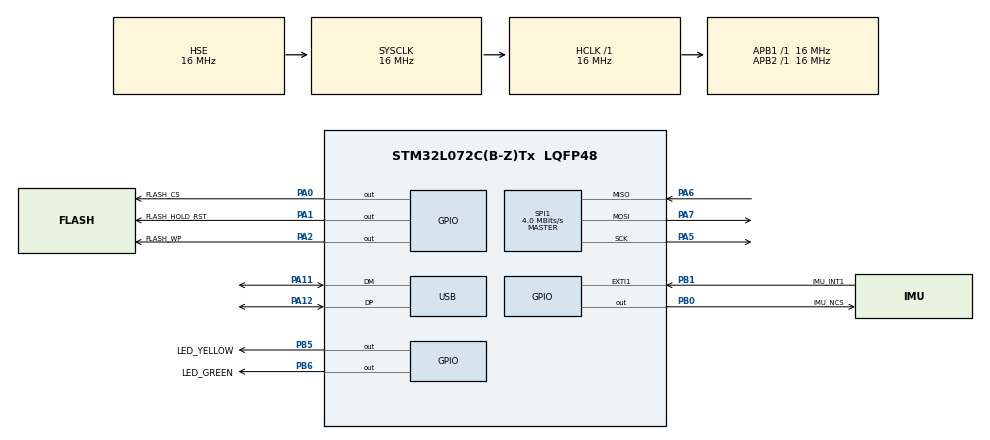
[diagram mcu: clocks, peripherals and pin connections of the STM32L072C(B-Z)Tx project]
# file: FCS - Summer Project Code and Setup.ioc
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Mcu.Family=STM32L0
Mcu.Name=STM32L072C(B-Z)Tx
Mcu.Package=LQFP48
NVIC.USB_IRQn=true\:0\:0\:false\:false\:true\:false\:true\:true
PA0.GPIO_Label=FLASH_CS
PA0.Signal=GPIO_Output
PA1.GPIO_Label=FLASH_HOLD_RST
PA1.Signal=GPIO_Output
PA11.Mode=Device
PA11.Signal=USB_DM
PA12.Mode=Device
PA12.Signal=USB_DP
PA13.Mode=Serial_Wire
PA13.Signal=SYS_SWDIO
PA14.Mode=Serial_Wire
PA14.Signal=SYS_SWCLK
PA2.GPIO_Label=FLASH_WP
PA2.Signal=GPIO_Output
PA5.Mode=Full_Duplex_Master
PA5.Signal=SPI1_SCK
PA6.Mode=Full_Duplex_Master
PA6.Signal=SPI1_MISO
PA7.Mode=Full_Duplex_Master
PA7.Signal=SPI1_MOSI
PB0.GPIO_Label=IMU_NCS
PB0.GPIO_PuPd=GPIO_NOPULL
PB0.Signal=GPIO_Output
PB1.GPIO_Label=IMU_INT1
PB1.Signal=GPXTI1
PB5.GPIO_Label=LED_YELLOW
PB5.Signal=GPIO_Output
PB6.GPIO_Label=LED_GREEN
PB6.Signal=GPIO_Output
PC14-OSC32_IN.Mode=LSE-External-Oscillator
PC14-OSC32_IN.Signal=RCC_OSC32_IN
PC15-OSC32_OUT.Mode=LSE-External-Oscillator
PC15-OSC32_OUT.Signal=RCC_OSC32_OUT
PH0-OSC_IN.Mode=HSE-External-Oscillator
PH0-OSC_IN.Signal=RCC_OSC_IN
PH1-OSC_OUT.Mode=HSE-External-Oscillator
PH1-OSC_OUT.Signal=RCC_OSC_OUT
ProjectManager.HeapSize=0x200
ProjectManager.StackSize=0x400
ProjectManager.TargetToolchain=STM32CubeIDE
RCC.ADCFreq_Value=16000000
RCC.AHBFreq_Value=16000000
RCC.APB1Freq_Value=16000000
RCC.APB1TimFreq_Value=16000000
RCC.APB2Freq_Value=16000000
RCC.APB2TimFreq_Value=16000000
RCC.HCLKFreq_Value=16000000
RCC.HSE_VALUE=16000000
RCC.HSI16_VALUE=16000000
RCC.HSI48_VALUE=48000000
RCC.HSI_VALUE=16000000
RCC.MSI_VALUE=2097000
RCC.PLLDIV=RCC_PLLDIV_3
RCC.PLLMUL=RCC_PLLMUL_6
RCC.SYSCLKFreq_VALUE=16000000
RCC.SYSCLKSource=RCC_SYSCLKSOURCE_HSE
RCC.VCOOutputFreq_Value=96000000
SPI1.BaudRatePrescaler=SPI_BAUDRATEPRESCALER_4
SPI1.CalculateBaudRate=4.0 MBits/s
SPI1.Direction=SPI_DIRECTION_2LINES
SPI1.Mode=SPI_MODE_MASTER
SPI1.VirtualType=VM_MASTER
USB_DEVICE.CLASS_NAME_FS=CDC
USB_DEVICE.VirtualMode=Cdc
USB_DEVICE.VirtualModeFS=Cdc_FS
VP_USB_DEVICE_VS_USB_DEVICE_CDC_FS.Mode=CDC_FS
board=custom

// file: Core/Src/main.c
/* USER CODE BEGIN Header */
/**
 ******************************************************************************
 * @file           : main.c
 * @brief          : Main program body
 ******************************************************************************
 * @attention
 *
 * Copyright (c) 2025 STMicroelectronics.
 * All rights reserved.
 *
 * This software is licensed under terms that can be found in the LICENSE file
 * in the root directory of this software component.
 * If no LICENSE file comes with this software, it is provided AS-IS.
 *
 ******************************************************************************
 */
/* USER CODE END Header */
#include "main.h"
#include "usb_device.h"

/* USER CODE BEGIN Includes */
#include <stdbool.h>
/* USER CODE END Includes */

SPI_HandleTypeDef hspi1;

/* USER CODE BEGIN PV */
bool imu_first_time = false;

/* USER CODE END PV */

void SystemClock_Config(void);
static void MX_GPIO_Init(void);
static void MX_SPI1_Init(void);

/* USER CODE BEGIN 0 */

/* Imu_Start_Transmission
 * Starts the transmission of the SPI line by setting NCS pin to LOW
 *
 * Takes: void
 * Returns: void
 */
void Imu_Start_Transmission(void)
{
    HAL_GPIO_WritePin(IMU_NCS_GPIO_Port, IMU_NCS_Pin, GPIO_PIN_RESET);
}

/* Imu_Stop_Transmission
 * Stops the transmission of the SPI line by setting NCS pin to HIGH
 *
 * Takes: void
 * Returns: void
 */
void Imu_Stop_Transmission(void)
{
    HAL_GPIO_WritePin(IMU_NCS_GPIO_Port, IMU_NCS_Pin, GPIO_PIN_SET);
}

/* Imu_Reg16_Read
 *
 * Will read data from address given and output 4 byte of data through pointer
 * 	but only 2 are useful (the ones that are saved)
 *
 * Takes: uint8_t address and 2 pointers
 * Returns: uint8_t status
 */
uint8_t Imu_Reg16_Read(uint8_t addr, uint8_t *low_byte, uint8_t *high_byte)
{
    /*
     * Create a transmit array that will set the transmit data to READ
     * Will have 4 bytes [(read set + addr), 0x00, 0x00, 0x00]
     *
     * Command byte: RnW = 1 (read) | Adress [6:0]
     */
    uint8_t tx_buf[4] = { ((addr & 0x7F) | 0x80), 0x00, 0x00, 0x00 };
    uint8_t rx_buf[4] = { 0 };

    Imu_Start_Transmission();

    // Send and get data while seeing if out status is ok
    uint8_t status = (HAL_SPI_TransmitReceive(&hspi1, tx_buf, rx_buf, 4,
    HAL_MAX_DELAY) == HAL_OK);

    Imu_Stop_Transmission();

    *low_byte = rx_buf[2];
    *high_byte = rx_buf[3];
    return status;
}

/* Imu_Reg16_Write
 *
 * Will take in an 8-bit addr and 2 8-bit write instruction and write it
 *
 * Takes: uint8_t addr and 2 uint8_t instructions
 * Returns: uint8_t status
 */
uint8_t Imu_Reg16_Write(uint8_t addr, uint8_t low_instruction_byte,
        uint8_t high_instruction_byte)
{
    // Store the addr, then the instruction with low byte first
    // Command byte: RnW = 0 (write) | Adress [6:0]
    uint8_t tx_buf[3] = { (addr & 0x7F), low_instruction_byte,
            high_instruction_byte };

    // Tranasmit data
    Imu_Start_Transmission();
    uint8_t status = (HAL_SPI_Transmit(&hspi1, tx_buf, sizeof(tx_buf),
            HAL_MAX_DELAY) == HAL_OK);
    Imu_Stop_Transmission();

    //uint8_t status = ( HAL_SPI_Transmit(&hspi1, tx_buf, , Timeout))
    return status;
}

/*Imu_SetUp
 *
 * Will setup the imu and everything required to get it into SPI mode
 *   will also make sure that the chip is ID properly
 *
 * Take: Void
 * Return: Void
 *
 */
void Imu_SetUp(void)
{
    // Set the data bytes
    uint8_t low_byte = 0x00;
    uint8_t high_byte = 0x00;

    // Initialize SPI
    Imu_Reg16_Read(IMU_REG_CHIP_ADDR, 0x00, 0x00);

    // Check chip_id
    Imu_Reg16_Read(IMU_REG_CHIP_ADDR, &low_byte, &high_byte);
    if (low_byte == IMU_REG_CHIP_ID)
    {
        HAL_GPIO_WritePin(LED_GREEN_GPIO_Port, LED_GREEN_Pin, GPIO_PIN_SET);
    }

    // Check if power is ok
    Imu_Reg16_Read(IMU_ERR_ADDR, &low_byte, &high_byte);
    if ((low_byte & 0x01) == 0x00) // Bitmask on low_byte to make sure only comparing LSB
    {
        HAL_GPIO_WritePin(LED_YELLOW_GPIO_Port, LED_YELLOW_Pin, GPIO_PIN_SET);
    }

    // Check if sensor status is ok
    /*
     * NOTE: Sometimes this needs a hard reset (removing power)
     *         since the register is instantly reset after 1 read
     */
    Imu_Reg16_Read(IMU_STATUS_ADDR, &low_byte, &high_byte);
    if ((low_byte & 0x01) == 0x01)
    {
        HAL_GPIO_WritePin(LED_YELLOW_GPIO_Port, LED_YELLOW_Pin, GPIO_PIN_RESET);
    }

    // Setup of Gyro
    Imu_Reg16_Write(IMU_GYRO_CONFIG_ADDR, IMU_GYRO_CONFIG_LOW,
            IMU_GYRO_CONFIG_HIGH);

//    // Setup accel to low power
//    Imu_Reg16_Write(IMU_ACCEL_CONFIG_ADDR, IMU_ACCEL_LOW_POWER_CONFIG_LOW, IMU_ACCEL_LOW_POWER_CONFIG_HIGH);
//
//    // Check sensor status
//    Imu_Reg16_Read(IMU_STATUS_ADDR, &low_byte, &high_byte);
//    while ((low_byte & 0x40) != 0x40) // Bitmask on low_byte to make sure only comparing 7th bit (MSB of the low byte)
//    {
//        HAL_GPIO_WritePin(LED_GREEN_GPIO_Port, LED_GREEN_Pin, GPIO_PIN_RESET);
//        Imu_Reg16_Read(IMU_STATUS_ADDR, &low_byte, &high_byte);
//    }
//    HAL_GPIO_WritePin(LED_GREEN_GPIO_Port, LED_GREEN_Pin, GPIO_PIN_SET);

    // Excelente! Successful init!

} /* END of Imu_Setup */

/* USER CODE END 0 */

int main(void)
{

    /* MCU Configuration--------------------------------------------------------*/

    /* Reset of all peripherals, Initializes the Flash interface and the Systick. */
    HAL_Init();

    /* Configure the system clock */
    SystemClock_Config();

    /* Initialize all configured peripherals */
    MX_GPIO_Init();
    MX_SPI1_Init();
    MX_USB_DEVICE_Init();

    /* Infinite loop */
    /* USER CODE BEGIN WHILE */

//  char txBuf[8];
//  uint8_t count = 1;
    char tx_buf[8];
    // Create rx array to store read information
    while (1)
    {

        /* START of uncommented code for while loop*/
        if (!imu_first_time)
        {
            Imu_SetUp();
            imu_first_time = true;
        }
        // Set the data bytes
        uint8_t data_low_byte = 0x00;
        uint8_t data_high_byte = 0x00;

        uint8_t read_low_byte = 0x00;
        uint8_t read__high_byte = 0x00;

        Imu_Reg16_Read(IMU_STATUS_ADDR, &read_low_byte, &read__high_byte);

        if ((read_low_byte & 0x40) == 0x40)
        {
            Imu_Reg16_Read(0x03, &data_low_byte, &data_high_byte);
            sprintf(tx_buf, "%u", data_high_byte);
            sprintf(tx_buf, "%u\r\n", data_low_byte);
            CDC_Transmit_FS((uint8_t*) tx_buf, strlen(tx_buf));
        }

        /* END of uncommented code for while loop*/

//	  HAL_GPIO_TogglePin(LED_GREEN_GPIO_Port, LED_GREEN_Pin);
//	  sprintf(txBuf, "%u\r\n", count);
//
//	  if (count >= 100)
//	  {
//		  count = 1;
//	  }
//	  count++;
//
//	  CDC_Transmit_FS((uint8_t *) txBuf, strlen(txBuf));
//
//	  HAL_Delay(500);
        /* USER CODE END WHILE */

    }
}

void SystemClock_Config(void)
{
    RCC_OscInitTypeDef RCC_OscInitStruct = { 0 };
    RCC_ClkInitTypeDef RCC_ClkInitStruct = { 0 };
    RCC_PeriphCLKInitTypeDef PeriphClkInit = { 0 };

    /** Configure the main internal regulator output voltage
     */
    __HAL_PWR_VOLTAGESCALING_CONFIG(PWR_REGULATOR_VOLTAGE_SCALE1);

    /** Initializes the RCC Oscillators according to the specified parameters
     * in the RCC_OscInitTypeDef structure.
     */
    RCC_OscInitStruct.OscillatorType = RCC_OSCILLATORTYPE_HSE;
    RCC_OscInitStruct.HSEState = RCC_HSE_ON;
    RCC_OscInitStruct.PLL.PLLState = RCC_PLL_ON;
    RCC_OscInitStruct.PLL.PLLSource = RCC_PLLSOURCE_HSE;
    RCC_OscInitStruct.PLL.PLLMUL = RCC_PLLMUL_6;
    RCC_OscInitStruct.PLL.PLLDIV = RCC_PLLDIV_3;
    if (HAL_RCC_OscConfig(&RCC_OscInitStruct) != HAL_OK)
    {
        Error_Handler();
    }

    /** Initializes the CPU, AHB and APB buses clocks
     */
    RCC_ClkInitStruct.ClockType = RCC_CLOCKTYPE_HCLK | RCC_CLOCKTYPE_SYSCLK
            | RCC_CLOCKTYPE_PCLK1 | RCC_CLOCKTYPE_PCLK2;
    RCC_ClkInitStruct.SYSCLKSource = RCC_SYSCLKSOURCE_HSE;
    RCC_ClkInitStruct.AHBCLKDivider = RCC_SYSCLK_DIV1;
    RCC_ClkInitStruct.APB1CLKDivider = RCC_HCLK_DIV1;
    RCC_ClkInitStruct.APB2CLKDivider = RCC_HCLK_DIV1;

    if (HAL_RCC_ClockConfig(&RCC_ClkInitStruct, FLASH_LATENCY_0) != HAL_OK)
    {
        Error_Handler();
    }
    PeriphClkInit.PeriphClockSelection = RCC_PERIPHCLK_USB;
    PeriphClkInit.UsbClockSelection = RCC_USBCLKSOURCE_PLL;
    if (HAL_RCCEx_PeriphCLKConfig(&PeriphClkInit) != HAL_OK)
    {
        Error_Handler();
    }
}

static void MX_SPI1_Init(void)
{

    /* SPI1 parameter configuration*/
    hspi1.Instance = SPI1;
    hspi1.Init.Mode = SPI_MODE_MASTER;
    hspi1.Init.Direction = SPI_DIRECTION_2LINES;
    hspi1.Init.DataSize = SPI_DATASIZE_8BIT;
    hspi1.Init.CLKPolarity = SPI_POLARITY_LOW;
    hspi1.Init.CLKPhase = SPI_PHASE_1EDGE;
    hspi1.Init.NSS = SPI_NSS_SOFT;
    hspi1.Init.BaudRatePrescaler = SPI_BAUDRATEPRESCALER_4;
    hspi1.Init.FirstBit = SPI_FIRSTBIT_MSB;
    hspi1.Init.TIMode = SPI_TIMODE_DISABLE;
    hspi1.Init.CRCCalculation = SPI_CRCCALCULATION_DISABLE;
    hspi1.Init.CRCPolynomial = 7;
    if (HAL_SPI_Init(&hspi1) != HAL_OK)
    {
        Error_Handler();
    }

}

static void MX_GPIO_Init(void)
{
    GPIO_InitTypeDef GPIO_InitStruct = { 0 };

    /* GPIO Ports Clock Enable */
    __HAL_RCC_GPIOC_CLK_ENABLE();
    __HAL_RCC_GPIOH_CLK_ENABLE();
    __HAL_RCC_GPIOA_CLK_ENABLE();
    __HAL_RCC_GPIOB_CLK_ENABLE();

    /*Configure GPIO pin Output Level */
    HAL_GPIO_WritePin(GPIOA, FLASH_CS_Pin | FLASH_HOLD_RST_Pin | FLASH_WP_Pin,
            GPIO_PIN_RESET);

    /*Configure GPIO pin Output Level */
    HAL_GPIO_WritePin(GPIOB, IMU_NCS_Pin | LED_YELLOW_Pin | LED_GREEN_Pin,
            GPIO_PIN_RESET);

    /*Configure GPIO pins : FLASH_CS_Pin FLASH_HOLD_RST_Pin FLASH_WP_Pin */
    GPIO_InitStruct.Pin = FLASH_CS_Pin | FLASH_HOLD_RST_Pin | FLASH_WP_Pin;
    GPIO_InitStruct.Mode = GPIO_MODE_OUTPUT_PP;
    GPIO_InitStruct.Pull = GPIO_NOPULL;
    GPIO_InitStruct.Speed = GPIO_SPEED_FREQ_LOW;
    HAL_GPIO_Init(GPIOA, &GPIO_InitStruct);

    /*Configure GPIO pins : IMU_NCS_Pin LED_YELLOW_Pin LED_GREEN_Pin */
    GPIO_InitStruct.Pin = IMU_NCS_Pin | LED_YELLOW_Pin | LED_GREEN_Pin;
    GPIO_InitStruct.Mode = GPIO_MODE_OUTPUT_PP;
    GPIO_InitStruct.Pull = GPIO_NOPULL;
    GPIO_InitStruct.Speed = GPIO_SPEED_FREQ_LOW;
    HAL_GPIO_Init(GPIOB, &GPIO_InitStruct);

    /*Configure GPIO pin : IMU_INT1_Pin */
    GPIO_InitStruct.Pin = IMU_INT1_Pin;
    GPIO_InitStruct.Mode = GPIO_MODE_IT_RISING;
    GPIO_InitStruct.Pull = GPIO_NOPULL;
    HAL_GPIO_Init(IMU_INT1_GPIO_Port, &GPIO_InitStruct);

}

void Error_Handler(void)
{
    __disable_irq();
    while (1)
    {
    }
}
